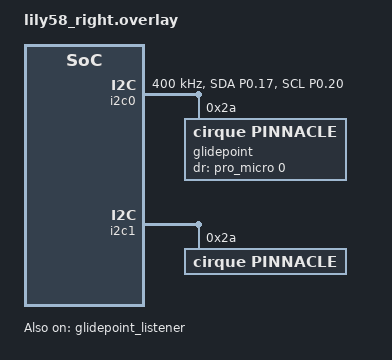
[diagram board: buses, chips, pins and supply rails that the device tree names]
/*
 * Copyright (c) 2020 Pete Johanson
 *
 * SPDX-License-Identifier: MIT
 */

#include "lily58.dtsi"

&default_transform {
    col-offset = <6>;
};

&kscan0 {
    col-gpios
        = <&pro_micro 10 GPIO_ACTIVE_HIGH>
        , <&pro_micro 16 GPIO_ACTIVE_HIGH>
        , <&pro_micro 14 GPIO_ACTIVE_HIGH>
        , <&pro_micro 15 GPIO_ACTIVE_HIGH>
        , <&pro_micro 18 GPIO_ACTIVE_HIGH>
        , <&pro_micro 19 GPIO_ACTIVE_HIGH>
        ;
};



&pinctrl {
    i2c0_default: i2c0_default {
        group1 {
            psels = <NRF_PSEL(TWIM_SDA, 0, 17)>,
                <NRF_PSEL(TWIM_SCL, 0, 20)>;
			// bias-pull-up; //replaced by physical resistors, since it was not stable
        };
    };

    i2c0_sleep: i2c0_sleep {
        group1 {
            psels = <NRF_PSEL(TWIM_SDA, 0, 17)>,
                <NRF_PSEL(TWIM_SCL, 0, 20)>;
            low-power-enable;
			// bias-pull-up; //replaced by physical resistors, since it was not stable
        };
    };
};

cirque_pinnacle_i2c: &i2c0 {
    compatible = "nordic,nrf-twim";
    pinctrl-0 = <&i2c0_default>;
    pinctrl-1 = <&i2c0_sleep>;
    pinctrl-names = "default", "sleep";
    clock-frequency = <I2C_BITRATE_FAST>;
};

// Enable custom i2c for the Right side

&cirque_pinnacle_i2c {
    status = "okay";

    glidepoint: glidepoint@2a {
        compatible = "cirque,pinnacle";
        reg = <0x2a>;
        status = "okay";
        // Pin marked as Serial in the Dilemma PCB (008/D0) is connected to the S pin in the TRRS footprint, 
        // so connecting this S pin to the DR pin in the Cirque, 
        // will make the MCU be notified when there is data ready in the cirque
        dr-gpios = <&pro_micro 0 (GPIO_ACTIVE_HIGH)>;
        sensitivity = "2x";
        sleep; 
        no-taps;
    };
};


&i2c1 {
    pinnacle@2a {
        compatible = "cirque,pinnacle";
        reg = <0x2a>;
        status = "okay";
        // Add any required properties for your hardware here
    };
};

&glidepoint {
    status = "okay";
};

&glidepoint_listener {
    status = "okay";
};

&pro_micro_i2c_default {
    group1 {
      bias-pull-up;
    };

};

// Overrides for the input-split child node
&glidepoint_split {
    device = <&glidepoint>;

    // Optional
    input-processors = <&zip_xy_transform (INPUT_TRANSFORM_XY_SWAP | INPUT_TRANSFORM_X_INVERT | INPUT_TRANSFORM_Y_INVERT)>;
};
